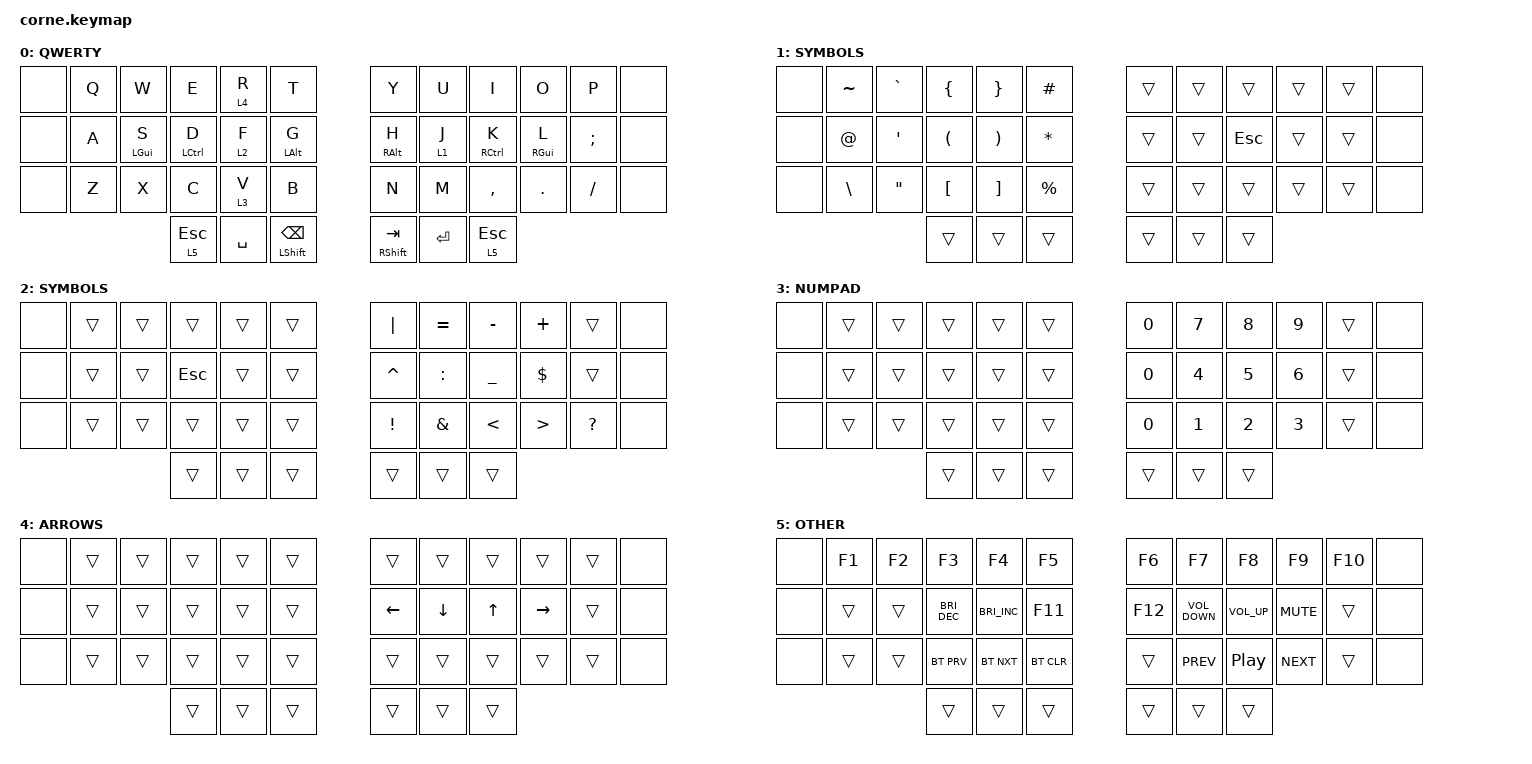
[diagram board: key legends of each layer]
/*
 * Copyright (c) 2020 The ZMK Contributors
 *
 * SPDX-License-Identifier: MIT
 */

#include <behaviors.dtsi>
#include <dt-bindings/zmk/keys.h>
#include <dt-bindings/zmk/bt.h>

&mt {
    flavor = "balanced";
};

&lt {
    flavor = "balanced";
};

/ {
        keymap {
                compatible = "zmk,keymap";

                default_layer { // Layer 0
                        display-name = "QWERTY";
                        bindings = <
&none &kp Q &kp W      &kp E         &lt 4 R          &kp T      /**/ &kp Y      &kp U            &kp I       &kp O      &kp P    &none
&none &kp A &mt LGUI S &mt LCTRL D   &lt 2 F          &mt LALT G /**/ &mt RALT H &lt 1 J          &mt RCTRL K &mt RGUI L &kp SEMI &none
&none &kp Z &kp X      &kp C         &lt 3 V          &kp B      /**/ &kp N      &kp M            &kp COMMA   &kp DOT    &kp FSLH &none
            &lt 5 ESC  &kp SPACE &mt LSHIFT BACKSPACE            /**/            &mt RSHIFT TAB   &kp ENTER   &lt 5 ESC
                        >;
                };

                left_symbols { // Layer 1
                        display-name = "SYMBOLS";
                        bindings = <
&none &kp TILDE     &kp GRAVE         &kp LEFT_BRACE       &kp RIGHT_BRACE       &kp HASH    /**/ &trans &trans &trans  &trans &trans &none
&none &kp AT_SIGN   &kp SINGLE_QUOTE  &kp LEFT_PARENTHESIS &kp RIGHT_PARENTHESIS &kp STAR    /**/ &trans &trans &kp ESC &trans &trans &none
&none &kp BACKSLASH &kp DOUBLE_QUOTES &kp LEFT_BRACKET     &kp RIGHT_BRACKET     &kp PERCENT /**/ &trans &trans &trans  &trans &trans &none
                    &trans            &trans               &trans                            /**/        &trans &trans  &trans
                        >;
                };

                right_symbols { // Layer 2
                    display-name = "SYMBOLS";
                    bindings = <
&none &trans &trans &trans  &trans &trans /**/ &kp PIPE        &kp EQUAL     &kp MINUS      &kp PLUS         &trans       &none
&none &trans &trans &kp ESC &trans &trans /**/ &kp CARET       &kp COLON     &kp UNDERSCORE &kp DOLLAR       &trans       &none
&none &trans &trans &trans  &trans &trans /**/ &kp EXCLAMATION &kp AMPERSAND &kp LESS_THAN  &kp GREATER_THAN &kp QUESTION &none
             &trans &trans  &trans        /**/                 &trans        &trans         &trans
                    >;
                };

                numpad { // Layer 3
                    display-name = "NUMPAD";
                    bindings = <
&none &trans &trans &trans &trans &trans /**/ &kp NUMBER_0 &kp NUMBER_7 &kp NUMBER_8 &kp NUMBER_9 &trans &none
&none &trans &trans &trans &trans &trans /**/ &kp NUMBER_0 &kp NUMBER_4 &kp NUMBER_5 &kp NUMBER_6 &trans &none
&none &trans &trans &trans &trans &trans /**/ &kp NUMBER_0 &kp NUMBER_1 &kp NUMBER_2 &kp NUMBER_3 &trans &none
            &trans &trans &trans         /**/              &trans       &trans       &trans
                    >;
                };

                arrow_keys { // Layer 4
                    display-name = "ARROWS";
                    bindings = <
&none &trans &trans &trans &trans &trans /**/ &trans         &trans         &trans       &trans          &trans &none
&none &trans &trans &trans &trans &trans /**/ &kp LEFT_ARROW &kp DOWN_ARROW &kp UP_ARROW &kp RIGHT_ARROW &trans &none
&none &trans &trans &trans &trans &trans /**/ &trans         &trans         &trans       &trans          &trans &none
             &trans &trans &trans        /**/                &trans         &trans       &trans
                    >;
                };

                other { // Layer 5
                    display-name = "OTHER";
                    bindings = <
&none &kp F1 &kp F2 &kp F3               &kp F4               &kp F5     /**/ &kp F6  &kp F7            &kp F8           &kp F9     &kp F10 &none
&none &trans &trans &kp C_BRIGHTNESS_DEC &kp C_BRIGHTNESS_INC &kp F11    /**/ &kp F12 &kp C_VOLUME_DOWN &kp C_VOLUME_UP  &kp C_MUTE &trans  &none
&none &trans &trans &bt BT_PRV           &bt BT_NXT           &bt BT_CLR /**/ &trans  &kp C_PREV        &kp C_PLAY_PAUSE &kp C_NEXT &trans  &none
             &trans &trans               &trans                          /**/         &trans            &trans           &trans
                    >;
                };
        };
};
